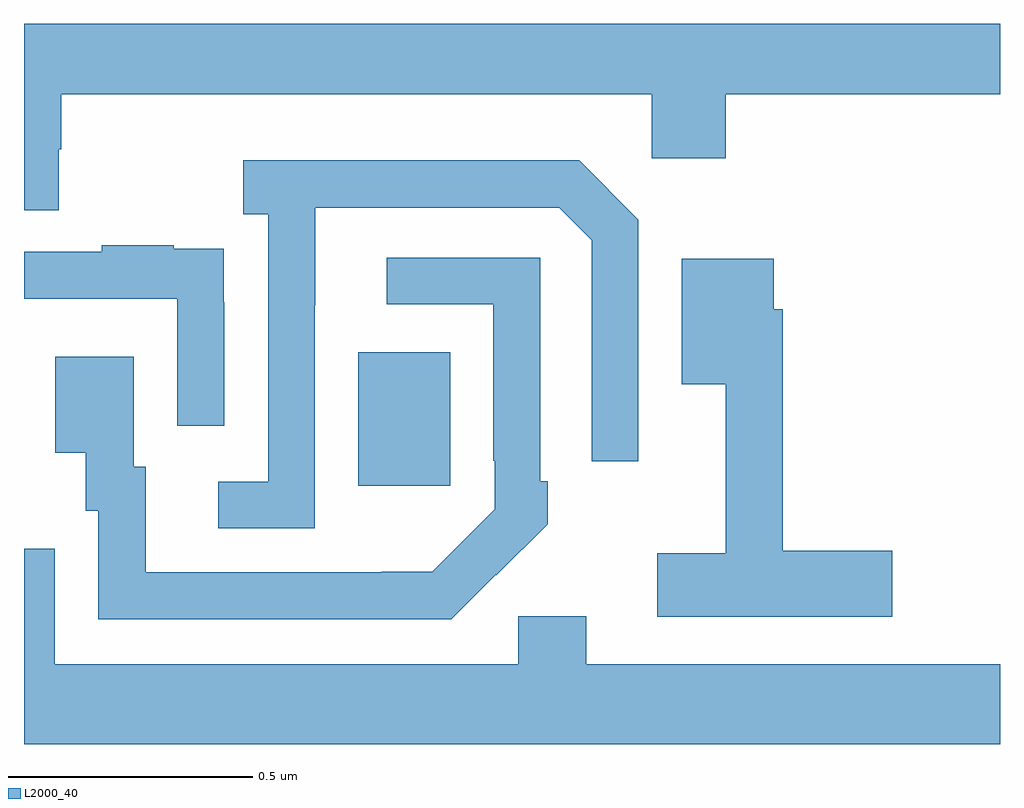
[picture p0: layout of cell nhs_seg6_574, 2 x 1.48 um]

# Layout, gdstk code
import gdstk
lib = gdstk.Library(unit=1e-6, precision=1e-09)
def R(c, l, rs):  # rectangles x0, y0, x1, y1
    for r in rs: c.add(gdstk.rectangle(r[:2], r[2:], *l))
def P(c, l, *ps):  # polygons
    for p in ps: c.add(gdstk.Polygon(p, *l))
L2000_40 = (2000, 40)

nhs_seg6_574 = lib.new_cell('nhs_seg6_574')
R(nhs_seg6_574, L2000_40, [(118.685,926.553,118.873,926.827)])
P(nhs_seg6_574, L2000_40, [(118.071,927.243),(118.076,927.243),(118.076,927.356),(119.286,927.356),(119.286,927.225),(119.438,927.225),(119.438,927.356),(120,927.356),(120,927.5),(118,927.5),(118,927.118),(118.071,927.118)],
  [(118.596,926.923),(118.597,926.923),(118.597,927.123),(119.097,927.123),(119.163,927.057),(119.163,926.604),(119.259,926.604),(119.259,927.099),(119.138,927.22),(118.449,927.22),(118.449,927.11),(118.5,927.11),(118.5,926.562),(118.398,926.562),(118.398,926.466),(118.596,926.466)],
  [(118.41,926.93),(118.409,926.93),(118.409,927.039),(118.307,927.039),(118.307,927.046),(118.159,927.046),(118.159,927.033),(118,927.033),(118,926.937),(118.314,926.937),(118.314,926.676),(118.41,926.676)],
  [(118.967,926.371),(118.968,926.37),(119.073,926.475),(119.073,926.563),(119.058,926.563),(119.058,927.021),(118.743,927.021),(118.743,926.925),(118.962,926.925),(118.962,926.605),(118.965,926.605),(118.965,926.505),(118.837,926.377),(118.733,926.377),(118.733,926.376),(118.249,926.376),(118.249,926.592),(118.225,926.592),(118.225,926.818),(118.064,926.818),(118.064,926.621),(118.127,926.621),(118.127,926.502),(118.152,926.502),(118.152,926.28),(118.876,926.28)],
  [(119.779,926.42),(119.555,926.42),(119.555,926.915),(119.536,926.915),(119.536,927.019),(119.348,927.019),(119.348,926.762),(119.438,926.762),(119.438,926.415),(119.298,926.415),(119.298,926.285),(119.779,926.285)],
  [(120,926.188),(119.152,926.188),(119.152,926.286),(119.013,926.286),(119.013,926.188),(118.063,926.188),(118.063,926.424),(118,926.424),(118,926.024),(120,926.024)])

lib.write_gds('nhs_seg6_574.gds')
